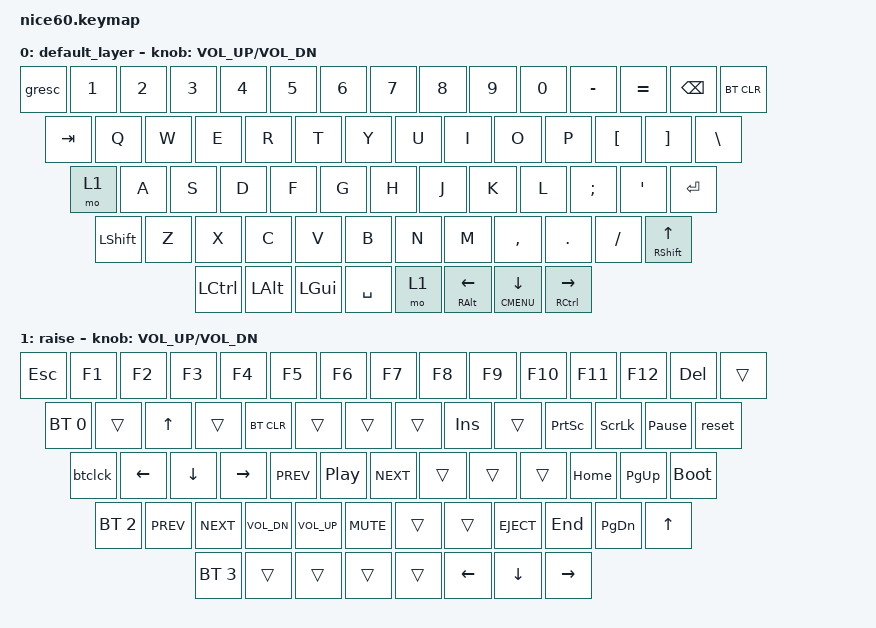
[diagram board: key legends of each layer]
#include <behaviors.dtsi>
#include <dt-bindings/zmk/keys.h>
#include <dt-bindings/zmk/rgb.h>
#include <dt-bindings/zmk/bt.h>

/ {
	behaviors {
        btclck: bt_clck {
            compatible = "zmk,behavior-mod-morph";
            label = "BT_CLCK";
            #binding-cells = <0>;
            bindings = <&bt BT_SEL 1>, <&kp CLCK>;
            mods = <(MOD_LGUI|MOD_LSFT|MOD_LCTL|MOD_LSFT)>;
        };
    };
	keymap {
		compatible = "zmk,keymap";

		default_layer {
				// ------------------------------------------------------------------------------------------
				// | ESC |  1  |  2  |  3  |  4  |  5  |  6  |  7  |  8  |  9  |  0  |  -  |  =  |   BKSP   | DEL
				// | TAB  |  Q  |  W  |  E  |  R  |  T  |  Y  |  U  |  I  |  O  |  P  |  [  |  ]  |   |    |
				// | mo1  |  A  |  S  |  D  |  F  |  G  |  H  |  J  |  K  |  L  |  ;  |  '  |     ENTER    |
				// |  SHIFT    |  Z  |  X  |  C  |  V  |  B  |  N  |  M  |  ,  |  .  | /   |      SHIFT     |
				// |  CTL  |  ALT  |  GUI  |            SPACE               | mo1 | ALT    |  MENU    |  CTRL    |
				// ------------------------------------------------------------------------------------------
			bindings = <
				&gresc &kp N1 &kp N2 &kp N3 &kp N4 &kp N5 &kp N6 &kp N7 &kp  N8   &kp  N9 &kp  N0  &kp MINUS &kp EQUAL &kp BSPC &bt BT_CLR
				&kp TAB  &kp Q  &kp W  &kp E  &kp R  &kp T  &kp Y  &kp U  &kp  I    &kp  O  &kp  P   &kp LBKT &kp RBKT  &kp BSLH
				&mo 1 &kp A  &kp S  &kp D  &kp F  &kp G  &kp H  &kp J  &kp  K    &kp  L  &kp SEMI &kp SQT           &kp RET
				&kp LSHFT  &kp Z  &kp X  &kp C  &kp V  &kp B  &kp N  &kp M  &kp COMMA &kp DOT &kp FSLH             &mt RSHFT UP
				&kp LCTRL &kp LALT &kp LGUI            &kp SPACE                          &mo 1   &mt RALT LEFT &mt K_CMENU DOWN &mt RCTRL RIGHT
			>;
			sensor-bindings = <&inc_dec_kp C_VOL_UP C_VOL_DN>;
		};
		raise {
			bindings = <
				&kp ESC &kp F1 &kp F2 &kp F3 &kp F4 &kp F5 &kp F6 &kp F7 &kp  F8   &kp  F9 &kp  F10  &kp F11 &kp F12   &kp DEL &trans
				&bt BT_SEL 0 &trans &kp UP &trans &bt BT_CLR &trans &trans &trans &kp INS &trans &kp PSCRN &kp SLCK &kp PAUSE_BREAK &reset
				&btclck    &kp LEFT &kp DOWN &kp RIGHT &kp C_PREV &kp C_PLAY_PAUSE &kp C_NEXT &trans &trans &trans &kp HOME  &kp PG_UP   &bootloader
				&bt BT_SEL 2 &kp C_PREV &kp C_NEXT &kp C_VOL_DN &kp C_VOL_UP &kp C_MUTE &trans &trans &kp C_EJECT &kp END &kp PG_DN  &kp UP
				&bt BT_SEL 3 &trans  &trans              &trans                            &trans  &kp LEFT &kp DOWN &kp RIGHT
			>;
			sensor-bindings = <&inc_dec_kp C_VOL_UP C_VOL_DN>;
		};
	};
};
